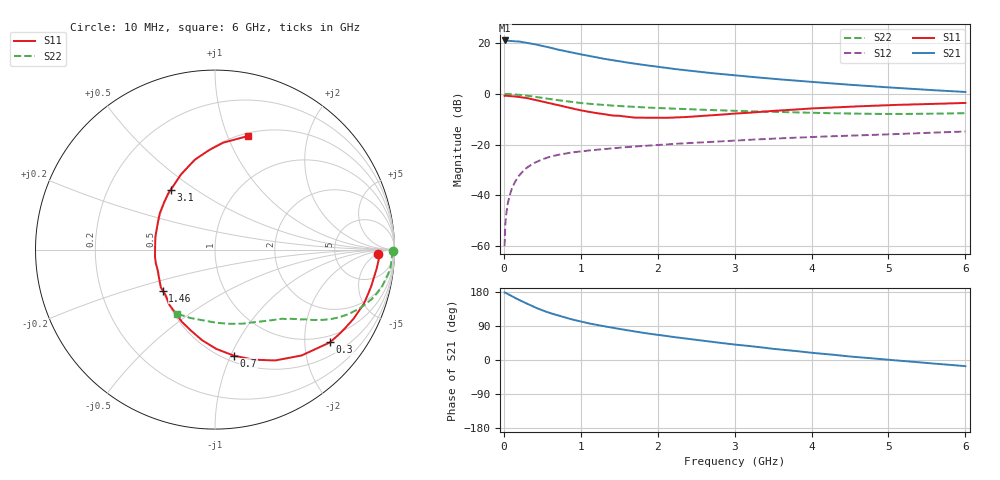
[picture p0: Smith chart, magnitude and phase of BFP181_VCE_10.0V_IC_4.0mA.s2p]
! Infineon Technologies  Discrete & RF Semiconductors
! BFP181
! VCE = 10.0V,  IC =  4.0 mA
! Common Emitter S-Parameters:  Jan 2016
# GHz  S  MA  R  50
!  f  S11  S21  S12  S22
! GHz  MAG  ANG  MAG  ANG  MAG  ANG  MAG  ANG
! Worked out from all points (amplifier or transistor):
!   210 points, 10 MHz to 6 GHz, reference 50 ohm
!   highest |S21| = 21.0 dB at 10 MHz (marker M1)
!   |S21| within 3 dB of that: start of sweep to 624.9 MHz
!   unconditionally stable (mu >= 1): 2.046 GHz to end of sweep
!   at 185 MHz: K = 0.15, MSG = 26.7 dB, |S12| = -32.8 dB
!   at 1.52 GHz: K = 0.84, MSG = 16.9 dB, |S12| = -21.2 dB
!   at 6 GHz: K = 1.10, MAG = 5.9 dB, |S12| = -14.9 dB
!   S11 on the Smith chart (normalised r, x): 10 MHz: 19, -5; 300 MHz: 0.81, -2.61; 700 MHz: 0.56, -1.03; 1.46 GHz: 0.50, -0.27; 3.1 GHz: 0.50, +0.40; 6 GHz: 0.53, +1.19
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0.01  0.9078 -1.4  11.18 178.1  0.001 80.3  0.9904 -0.5
0.02  0.9164 -2.6  11.06 177.6  0.0028 76.8  0.9884 -1.2
0.03  0.9129 -3.9  11.06 176.5  0.0041 82.5  0.9873 -1.9
0.075  0.899 -9.9  10.96 171.7  0.0098 82.4  0.9837 -4.7
0.2  0.8625 -26.6  10.64 158.2  0.0247 74.5  0.9542 -12.2
0.24  0.8452 -31.6  10.38 154.1  0.0288 71.9  0.9391 -14.4
0.3  0.8232 -38.9  10.03 148.9  0.0351 68.3  0.9162 -17.5
0.4  0.7622 -50.7  9.441 139.1  0.0438 62.7  0.8732 -21.9
0.5  0.7029 -61.5  8.723 130.8  0.051 57.3  0.8275 -25.7
0.6  0.6482 -71.0  8.092 123.9  0.0575 53.5  0.785 -28.8
0.7  0.5998 -80.0  7.402 117.6  0.0624 50.0  0.7476 -31.3
0.88  0.5181 -96.1  6.529 107.4  0.0697 45.4  0.6905 -34.6
1.02  0.4649 -108.0  5.88 100.6  0.0737 42.9  0.6531 -36.7
1.2  0.4153 -122.3  5.215 92.9  0.079 40.1  0.6172 -39.1
1.46  0.3698 -141.9  4.451 83.5  0.0856 37.7  0.5777 -41.9
1.8  0.3385 -167.2  3.72 72.1  0.0934 35.7  0.5401 -45.5
2.02  0.3341 178.1  3.346 65.9  0.0984 34.4  0.5223 -48.0
2.6  0.3678 146.8  2.638 50.7  0.1114 31.3  0.4824 -55.5
3.1  0.4144 126.6  2.229 38.8  0.1221 28.4  0.4557 -62.8
4.1  0.5207 100.7  1.666 17.3  0.1427 22.7  0.4182 -80.6
5.1  0.6026 84.3  1.304 -1.1  0.1607 17.3  0.3996 -101.2
6  0.659 73.8  1.083 -16.3  0.1804 11.9  0.4144 -120.6
